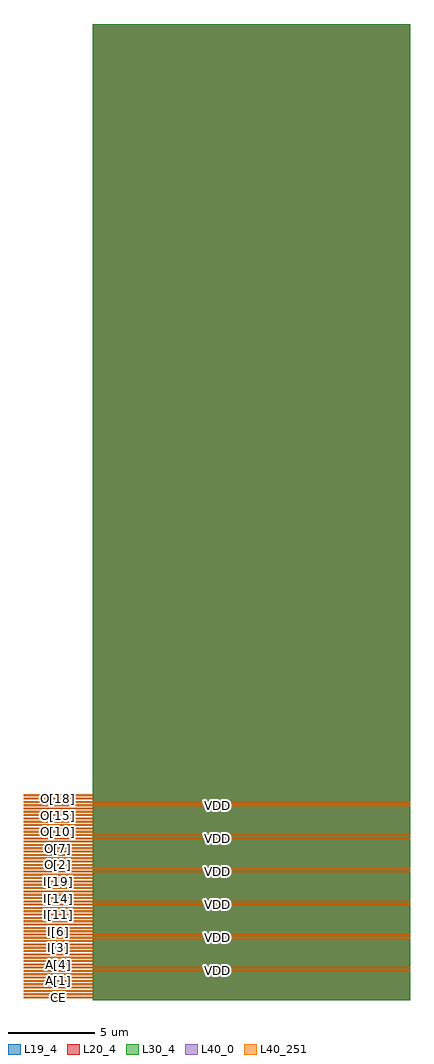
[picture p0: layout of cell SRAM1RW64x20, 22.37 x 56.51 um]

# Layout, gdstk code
import gdstk
lib = gdstk.Library(unit=1e-6, precision=1e-09)
def R(c, l, rs):  # rectangles x0, y0, x1, y1
    for r in rs: c.add(gdstk.rectangle(r[:2], r[2:], *l))
def A(c, l, x, y, w, h, nx, ny, dx, dy):  # array of equal rectangles
    R(c, l, [(x+i*dx, y+j*dy, x+i*dx+w, y+j*dy+h) for i in range(nx) for j in range(ny)])
L19_4 = (19, 4)
L20_4 = (20, 4)
L30_4 = (30, 4)
L40_0 = (40, 0)
L40_251 = (40, 251)

sram1rw64x20 = lib.new_cell('SRAM1RW64x20')
R(sram1rw64x20, L19_4, [(4,0,22.368,56.512)])
R(sram1rw64x20, L20_4, [(4,0,22.368,56.512)])
R(sram1rw64x20, L30_4, [(4,0,22.368,56.512)])
A(sram1rw64x20, L40_0, 0, 0.096, 4, 0.096, 1, 8, 0, 0.192)
A(sram1rw64x20, L40_0, 0, 2.016, 4, 0.096, 1, 8, 0, 0.192)
A(sram1rw64x20, L40_0, 0, 3.936, 4, 0.096, 1, 8, 0, 0.192)
A(sram1rw64x20, L40_0, 0, 5.856, 4, 0.096, 1, 8, 0, 0.192)
A(sram1rw64x20, L40_0, 0, 7.776, 4, 0.096, 1, 8, 0, 0.192)
A(sram1rw64x20, L40_0, 0, 9.696, 4, 0.096, 1, 8, 0, 0.192)
R(sram1rw64x20, L40_0, [(0,1.632,22.368,1.728), (0,1.824,22.368,1.92), (0,3.552,22.368,3.648), (0,3.744,22.368,3.84), (0,5.472,22.368,5.568), (0,5.664,22.368,5.76), (0,7.392,22.368,7.488), (0,7.584,22.368,7.68), (0,9.312,22.368,9.408), (0,9.504,22.368,9.6), (0,11.232,22.368,11.328), (0,11.424,22.368,11.52), (0,11.616,4,11.712), (0,11.808,4,11.904)])
A(sram1rw64x20, L40_251, 0, 0.096, 4, 0.096, 1, 8, 0, 0.192)
A(sram1rw64x20, L40_251, 0, 2.016, 4, 0.096, 1, 8, 0, 0.192)
A(sram1rw64x20, L40_251, 0, 3.936, 4, 0.096, 1, 8, 0, 0.192)
A(sram1rw64x20, L40_251, 0, 5.856, 4, 0.096, 1, 8, 0, 0.192)
A(sram1rw64x20, L40_251, 0, 7.776, 4, 0.096, 1, 8, 0, 0.192)
A(sram1rw64x20, L40_251, 0, 9.696, 4, 0.096, 1, 8, 0, 0.192)
R(sram1rw64x20, L40_251, [(0,1.632,22.368,1.728), (0,1.824,22.368,1.92), (0,3.552,22.368,3.648), (0,3.744,22.368,3.84), (0,5.472,22.368,5.568), (0,5.664,22.368,5.76), (0,7.392,22.368,7.488), (0,7.584,22.368,7.68), (0,9.312,22.368,9.408), (0,9.504,22.368,9.6), (0,11.232,22.368,11.328), (0,11.424,22.368,11.52), (0,11.616,4,11.712), (0,11.808,4,11.904)])
sram1rw64x20.add(gdstk.Label('CE', (2,0.144), layer=40, texttype=0))
sram1rw64x20.add(gdstk.Label('WEB', (2,0.336), layer=40, texttype=0))
sram1rw64x20.add(gdstk.Label('OEB', (2,0.528), layer=40, texttype=0))
sram1rw64x20.add(gdstk.Label('CSB', (2,0.72), layer=40, texttype=0))
sram1rw64x20.add(gdstk.Label('A[0]', (2,0.912), layer=40, texttype=0))
sram1rw64x20.add(gdstk.Label('A[1]', (2,1.104), layer=40, texttype=0))
sram1rw64x20.add(gdstk.Label('A[2]', (2,1.296), layer=40, texttype=0))
sram1rw64x20.add(gdstk.Label('A[3]', (2,1.488), layer=40, texttype=0))
sram1rw64x20.add(gdstk.Label('A[4]', (2,2.064), layer=40, texttype=0))
sram1rw64x20.add(gdstk.Label('A[5]', (2,2.256), layer=40, texttype=0))
sram1rw64x20.add(gdstk.Label('I[0]', (2,2.448), layer=40, texttype=0))
sram1rw64x20.add(gdstk.Label('I[1]', (2,2.64), layer=40, texttype=0))
sram1rw64x20.add(gdstk.Label('I[2]', (2,2.832), layer=40, texttype=0))
sram1rw64x20.add(gdstk.Label('I[3]', (2,3.024), layer=40, texttype=0))
sram1rw64x20.add(gdstk.Label('I[4]', (2,3.216), layer=40, texttype=0))
sram1rw64x20.add(gdstk.Label('I[5]', (2,3.408), layer=40, texttype=0))
sram1rw64x20.add(gdstk.Label('I[6]', (2,3.984), layer=40, texttype=0))
sram1rw64x20.add(gdstk.Label('I[7]', (2,4.176), layer=40, texttype=0))
sram1rw64x20.add(gdstk.Label('I[8]', (2,4.368), layer=40, texttype=0))
sram1rw64x20.add(gdstk.Label('I[9]', (2,4.56), layer=40, texttype=0))
sram1rw64x20.add(gdstk.Label('I[10]', (2,4.752), layer=40, texttype=0))
sram1rw64x20.add(gdstk.Label('I[11]', (2,4.944), layer=40, texttype=0))
sram1rw64x20.add(gdstk.Label('I[12]', (2,5.136), layer=40, texttype=0))
sram1rw64x20.add(gdstk.Label('I[13]', (2,5.328), layer=40, texttype=0))
sram1rw64x20.add(gdstk.Label('I[14]', (2,5.904), layer=40, texttype=0))
sram1rw64x20.add(gdstk.Label('I[15]', (2,6.096), layer=40, texttype=0))
sram1rw64x20.add(gdstk.Label('I[16]', (2,6.288), layer=40, texttype=0))
sram1rw64x20.add(gdstk.Label('I[17]', (2,6.48), layer=40, texttype=0))
sram1rw64x20.add(gdstk.Label('I[18]', (2,6.672), layer=40, texttype=0))
sram1rw64x20.add(gdstk.Label('I[19]', (2,6.864), layer=40, texttype=0))
sram1rw64x20.add(gdstk.Label('O[0]', (2,7.056), layer=40, texttype=0))
sram1rw64x20.add(gdstk.Label('O[1]', (2,7.248), layer=40, texttype=0))
sram1rw64x20.add(gdstk.Label('O[2]', (2,7.824), layer=40, texttype=0))
sram1rw64x20.add(gdstk.Label('O[3]', (2,8.016), layer=40, texttype=0))
sram1rw64x20.add(gdstk.Label('O[4]', (2,8.208), layer=40, texttype=0))
sram1rw64x20.add(gdstk.Label('O[5]', (2,8.4), layer=40, texttype=0))
sram1rw64x20.add(gdstk.Label('O[6]', (2,8.592), layer=40, texttype=0))
sram1rw64x20.add(gdstk.Label('O[7]', (2,8.784), layer=40, texttype=0))
sram1rw64x20.add(gdstk.Label('O[8]', (2,8.976), layer=40, texttype=0))
sram1rw64x20.add(gdstk.Label('O[9]', (2,9.168), layer=40, texttype=0))
sram1rw64x20.add(gdstk.Label('O[10]', (2,9.744), layer=40, texttype=0))
sram1rw64x20.add(gdstk.Label('O[11]', (2,9.936), layer=40, texttype=0))
sram1rw64x20.add(gdstk.Label('O[12]', (2,10.128), layer=40, texttype=0))
sram1rw64x20.add(gdstk.Label('O[13]', (2,10.32), layer=40, texttype=0))
sram1rw64x20.add(gdstk.Label('O[14]', (2,10.512), layer=40, texttype=0))
sram1rw64x20.add(gdstk.Label('O[15]', (2,10.704), layer=40, texttype=0))
sram1rw64x20.add(gdstk.Label('O[16]', (2,10.896), layer=40, texttype=0))
sram1rw64x20.add(gdstk.Label('O[17]', (2,11.088), layer=40, texttype=0))
sram1rw64x20.add(gdstk.Label('O[18]', (2,11.664), layer=40, texttype=0))
sram1rw64x20.add(gdstk.Label('O[19]', (2,11.856), layer=40, texttype=0))
sram1rw64x20.add(gdstk.Label('VDD', (11.184,1.68), layer=40, texttype=0))
sram1rw64x20.add(gdstk.Label('VDD', (11.184,3.6), layer=40, texttype=0))
sram1rw64x20.add(gdstk.Label('VDD', (11.184,5.52), layer=40, texttype=0))
sram1rw64x20.add(gdstk.Label('VDD', (11.184,7.44), layer=40, texttype=0))
sram1rw64x20.add(gdstk.Label('VDD', (11.184,9.36), layer=40, texttype=0))
sram1rw64x20.add(gdstk.Label('VDD', (11.184,11.28), layer=40, texttype=0))
sram1rw64x20.add(gdstk.Label('VSS', (11.184,1.872), layer=40, texttype=0))
sram1rw64x20.add(gdstk.Label('VSS', (11.184,3.792), layer=40, texttype=0))
sram1rw64x20.add(gdstk.Label('VSS', (11.184,5.712), layer=40, texttype=0))
sram1rw64x20.add(gdstk.Label('VSS', (11.184,7.632), layer=40, texttype=0))
sram1rw64x20.add(gdstk.Label('VSS', (11.184,9.552), layer=40, texttype=0))
sram1rw64x20.add(gdstk.Label('VSS', (11.184,11.472), layer=40, texttype=0))

lib.write_gds('SRAM1RW64x20.gds')
